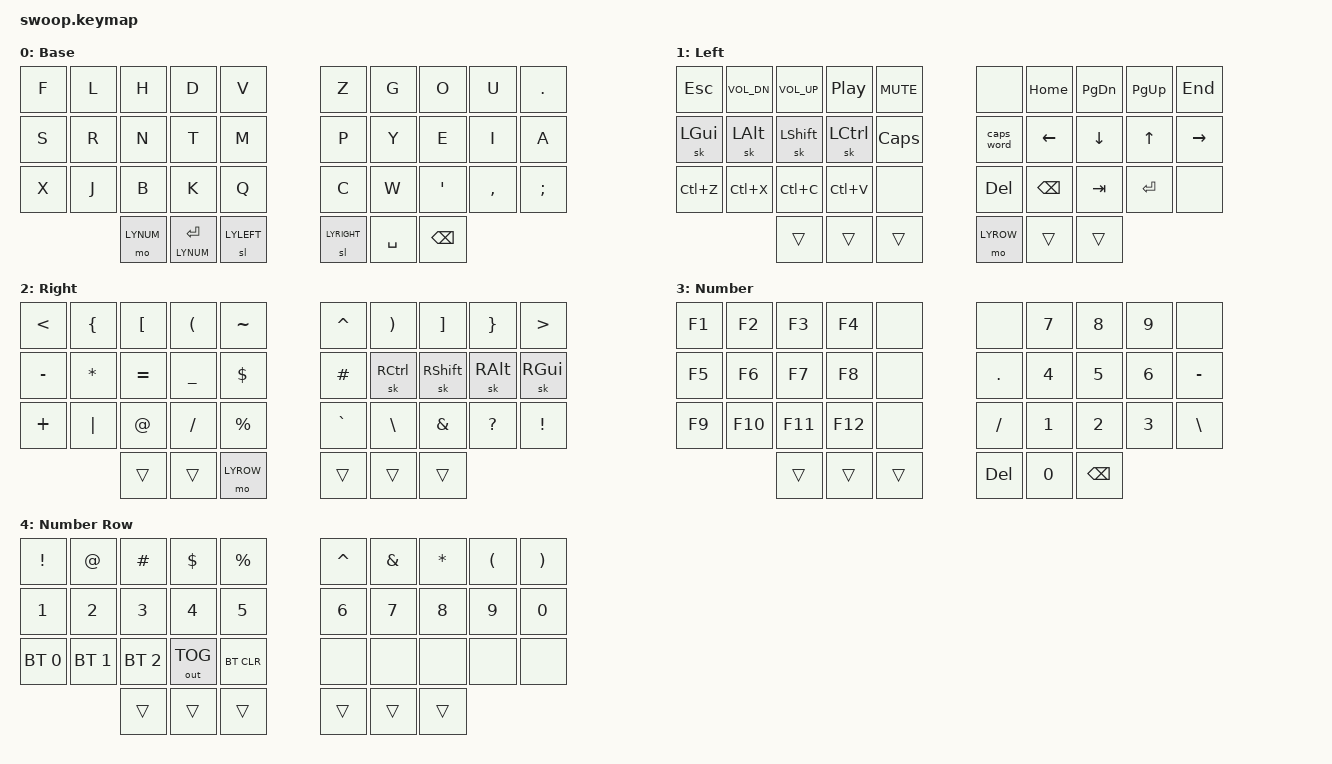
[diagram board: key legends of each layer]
#include <behaviors.dtsi>
#include <dt-bindings/zmk/keys.h>
#include <dt-bindings/zmk/bt.h>
#include <dt-bindings/zmk/outputs.h>

// Layer definitions
#define LYDWARF 0
#define LYLEFT 1
#define LYRIGHT 2
#define LYNUM 3
#define LYROW 4
#define LYFN 5
#define LYSETTINGS 6

&sk {
    quick-release;
 };

/ {
	behaviors {

		gqt: global-quick-tap {
			compatible = "zmk,behavior-hold-tap";
			label = "GLOBAL_QUICK_TAP";
			#binding-cells = <2>;
			flavor = "tap-preferred";
			tapping-term-ms = <200>;
			quick-tap-ms = <125>;
			global-quick-tap;
			bindings = <&kp>, <&kp>;
		};

		glt: global-layer-tap {
			compatible = "zmk,behavior-hold-tap";
			label = "GLOBAL_LAYER_TAP";
			#binding-cells = <2>;
			flavor = "balanced";
			tapping-term-ms = <200>;
			quick-tap-ms = <125>;
			global-quick-tap;
			bindings = <&mo>, <&kp>;
		};
	};

	
	keymap {
		compatible = "zmk,keymap";
		
		default_layer {
			label = "Base";
			bindings = <
			&kp F &kp L &kp H &kp D &kp V           		&kp Z &kp G  &kp O		&kp U   	&kp DOT 
			&kp S &kp R &kp N &kp T &kp M           		&kp P &kp Y  &kp E		&kp I 		&kp A
			&kp X &kp J &kp B &kp K &kp Q           		&kp C &kp W  &kp  SQT 	&kp  COMMA 	&kp  SEMICOLON
			&mo LYNUM &glt LYNUM ENTER &sl LYLEFT					&sl LYRIGHT  &kp SPACE &kp BACKSPACE
			>;
		};

		left_layer {
			label = "Left";
			bindings = <
			&kp ESC &kp C_VOL_DN &kp C_VOL_UP &kp C_PLAY_PAUSE &kp C_MUTE		&none &kp HOME &kp PG_DN &kp PG_UP &kp END
			&sk LGUI &sk LALT &sk LSHIFT &sk LCTRL &kp CAPSLOCK					&caps_word &kp LEFT &kp DOWN &kp UP &kp RIGHT
			&kp LC(Z) &kp LC(X) &kp LC(C) &kp LC(V) &none						&kp DELETE &kp BACKSPACE &kp TAB &kp ENTER &none
			&trans &trans &trans												&mo LYROW &trans &trans
			>;
		};

		right_layer {
			label = "Right";
			bindings = <
			&kp LT &kp LBRC &kp LBKT &kp LPAR &kp TILDE					&kp CARET &kp RPAR &kp RBKT &kp RBRC &kp GT
			&kp MINUS &kp STAR &kp EQUAL &kp UNDERSCORE &kp DOLLAR		&kp HASH &sk RCTRL &sk RSHIFT &sk RALT &sk RGUI
			&kp PLUS &kp PIPE &kp AT &kp FSLH &kp PERCENT				&kp GRAVE &kp BSLH &kp AMPERSAND &kp QUESTION &kp EXCLAMATION
			&trans &trans &mo LYROW										&trans &trans &trans
			>;
		};

		number_layer {
			label = "Number";
			bindings = <
			&kp F1 &kp F2 &kp F3 &kp F4 &none			&none &kp N7 &kp N8 &kp N9 &none
			&kp F5 &kp F6 &kp F7 &kp F8 &none			&kp DOT &kp N4 &kp N5 &kp N6 &kp MINUS
			&kp F9 &kp F10 &kp F11 &kp F12 &none		&kp FSLH &kp N1 &kp N2 &kp N3 &kp BSLH
			&trans &trans &trans						&kp DELETE &kp N0 &kp BACKSPACE
			>;
		};

		numrow_layer {
			label = "Number Row";
			bindings = <
			&kp EXCLAMATION &kp AT &kp HASH &kp DOLLAR &kp PERCENT				&kp CARET &kp AMPERSAND &kp STAR &kp LPAR &kp RPAR
			&kp N1 &kp N2 &kp N3 &kp N4 &kp N5									&kp N6 &kp N7 &kp N8 &kp N9 &kp N0
			&bt BT_SEL 0 &bt BT_SEL 1 &bt BT_SEL 2 &out OUT_TOG &bt BT_CLR 		&none &none &none &none &none 
			&trans &trans &trans												&trans &trans &trans

			>;
		};

/*			
			&none &none &none &none &none			&none &none &none &none &none
			&none &none &none &none &none			&none &none &none &none &none
			&none &none &none &none &none			&none &none &none &none &none
			&trans &trans &trans					&trans &trans &trans
*/

	};
};

